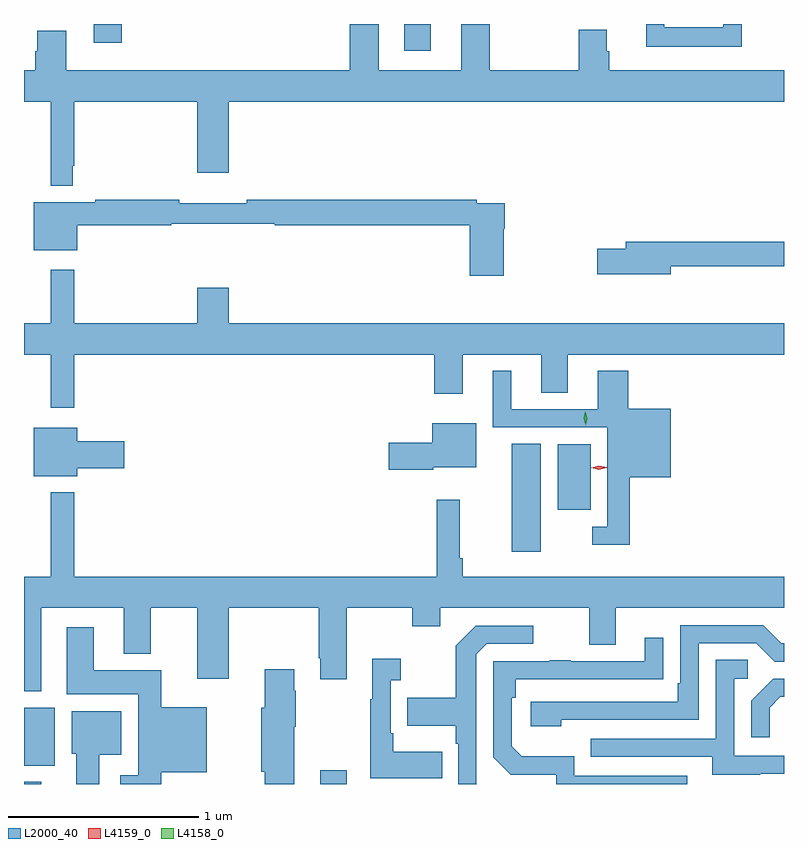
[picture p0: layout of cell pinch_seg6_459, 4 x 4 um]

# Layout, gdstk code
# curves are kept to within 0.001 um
import gdstk
lib = gdstk.Library(unit=1e-6, precision=1e-09)
def R(c, l, rs):  # rectangles x0, y0, x1, y1
    for r in rs: c.add(gdstk.rectangle(r[:2], r[2:], *l))
def P(c, l, *ps):  # polygons
    for p in ps: c.add(gdstk.Polygon(p, *l))
L2000_40 = (2000, 40)
L4158_0 = (4158, 0)
L4159_0 = (4159, 0)

pinch_seg6_459 = lib.new_cell('pinch_seg6_459')
R(pinch_seg6_459, L2000_40, [(775.483,915.772,775.573,915.784), (777.041,915.772,777.181,915.844), (775.483,915.869,775.645,916.174), (778.049,916.995,778.204,917.564), (778.292,917.216,778.465,917.56), (777.485,919.632,777.625,919.772), (775.85,919.674,775.997,919.772)])
P(pinch_seg6_459, L2000_40, [(779.26,919.772),(779.163,919.772),(779.163,919.756),(778.854,919.756),(778.854,919.772),(778.757,919.772),(778.757,919.652),(779.26,919.652)],
  [(778.402,919.741),(778.402,919.528),(777.933,919.528),(777.933,919.771),(777.785,919.771),(777.785,919.528),(777.349,919.528),(777.349,919.772),(777.197,919.772),(777.197,919.528),(775.706,919.528),(775.706,919.737),(775.553,919.737),(775.553,919.628),(775.541,919.628),(775.541,919.528),(775.483,919.528),(775.483,919.364),(775.625,919.364),(775.625,918.92),(775.74,918.92),(775.74,919.027),(775.747,919.027),(775.747,919.364),(776.396,919.364),(776.396,918.99),(776.56,918.99),(776.56,919.364),(779.483,919.364),(779.483,919.528),(778.562,919.528),(778.562,919.629),(778.549,919.629),(778.549,919.741)],
  [(778.008,918.695),(778.013,918.695),(778.013,918.828),(777.866,918.828),(777.866,918.848),(776.656,918.848),(776.656,918.829),(776.3,918.829),(776.3,918.848),(775.858,918.848),(775.858,918.835),(775.535,918.835),(775.535,918.581),(775.762,918.581),(775.762,918.712),(776.258,918.712),(776.258,918.72),(776.802,918.72),(776.802,918.712),(777.83,918.712),(777.83,918.447),(778.008,918.447)],
  [(778.888,918.498),(779.483,918.498),(779.483,918.626),(778.649,918.626),(778.649,918.59),(778.5,918.59),(778.5,918.455),(778.888,918.455)],
  [(775.747,918.032),(777.641,918.032),(777.641,917.826),(777.793,917.826),(777.793,918.032),(778.205,918.032),(778.205,917.83),(778.345,917.83),(778.345,918.032),(779.483,918.032),(779.483,918.196),(776.56,918.196),(776.56,918.385),(776.396,918.385),(776.396,918.196),(775.747,918.196),(775.747,918.478),(775.625,918.478),(775.625,918.196),(775.483,918.196),(775.483,918.032),(775.625,918.032),(775.625,917.751),(775.747,917.751)],
  [(778.67,917.387),(778.888,917.387),(778.888,917.746),(778.664,917.746),(778.664,917.947),(778.502,917.947),(778.502,917.745),(778.048,917.745),(778.048,917.947),(777.95,917.947),(777.95,917.649),(778.554,917.649),(778.554,917.127),(778.473,917.127),(778.473,917.03),(778.67,917.03)],
  [(777.636,917.438),(777.862,917.438),(777.862,917.671),(777.632,917.671),(777.632,917.568),(777.402,917.568),(777.402,917.426),(777.636,917.426)],
  [(775.762,917.435),(776.011,917.435),(776.011,917.577),(775.762,917.577),(775.762,917.647),(775.535,917.647),(775.535,917.393),(775.762,917.393)],
  [(775.573,916.7),(776.009,916.7),(776.009,916.457),(776.149,916.457),(776.149,916.7),(776.396,916.7),(776.396,916.326),(776.56,916.326),(776.56,916.7),(777.034,916.7),(777.034,916.435),(777.041,916.435),(777.041,916.323),(777.181,916.323),(777.181,916.7),(777.526,916.7),(777.526,916.601),(777.673,916.601),(777.673,916.7),(778.457,916.7),(778.457,916.506),(778.597,916.506),(778.597,916.7),(779.483,916.7),(779.483,916.864),(777.791,916.864),(777.791,916.96),(777.776,916.96),(777.776,917.269),(777.655,917.269),(777.655,916.864),(775.747,916.864),(775.747,917.308),(775.625,917.308),(775.625,916.864),(775.483,916.864),(775.483,916.259),(775.573,916.259)],
  [(778.31,916.11),(779.034,916.11),(779.034,916.512),(779.337,916.512),(779.433,916.416),(779.483,916.416),(779.483,916.512),(779.469,916.512),(779.373,916.608),(778.938,916.608),(778.938,916.303),(778.925,916.303),(778.925,916.206),(778.149,916.206),(778.149,916.076),(778.31,916.076)],
  [(777.864,915.774),(777.864,916.455),(777.918,916.509),(778.162,916.509),(778.162,916.605),(777.861,916.605),(777.756,916.499),(777.756,916.227),(777.499,916.227),(777.499,916.079),(777.756,916.079),(777.756,915.983),(777.768,915.983),(777.768,915.772),(777.866,915.772)],
  [(776.206,915.833),(776.446,915.833),(776.446,916.177),(776.206,916.177),(776.206,916.372),(775.849,916.372),(775.849,916.597),(775.709,916.597),(775.709,916.244),(776.084,916.244),(776.084,915.817),(775.989,915.817),(775.989,915.772),(776.206,915.772)],
  [(778.975,915.816),(778.38,915.816),(778.38,915.919),(778.103,915.919),(778.05,915.972),(778.05,916.226),(778.07,916.226),(778.07,916.323),(778.847,916.324),(778.847,916.543),(778.751,916.543),(778.751,916.419),(778.361,916.419),(778.361,916.424),(778.249,916.424),(778.249,916.419),(777.954,916.419),(777.954,915.912),(778.044,915.822),(778.284,915.822),(778.284,915.772),(778.975,915.772)],
  [(777.683,915.943),(777.427,915.943),(777.427,916.039),(777.414,916.039),(777.414,916.319),(777.466,916.319),(777.466,916.432),(777.317,916.432),(777.317,916.219),(777.306,916.219),(777.306,915.803),(777.683,915.803)],
  [(779.359,915.825),(779.483,915.825),(779.483,915.921),(779.22,915.921),(779.22,916.326),(779.293,916.326),(779.293,916.427),(779.124,916.427),(779.124,916.011),(778.465,916.011),(778.465,915.915),(779.105,915.915),(779.105,915.821),(779.359,915.821)],
  [(776.905,916.073),(776.913,916.073),(776.913,916.262),(776.905,916.262),(776.905,916.375),(776.75,916.375),(776.75,916.173),(776.732,916.173),(776.732,915.837),(776.75,915.837),(776.75,915.772),(776.905,915.772)],
  [(779.407,916.173),(779.464,916.23),(779.483,916.23),(779.483,916.326),(779.426,916.326),(779.31,916.21),(779.31,916.017),(779.407,916.017)],
  [(775.879,915.926),(775.996,915.926),(775.996,916.156),(775.733,916.156),(775.733,915.93),(775.757,915.93),(775.757,915.772),(775.879,915.772)])
P(pinch_seg6_459, L4158_0, [(778.44,917.661),(778.44,917.662),(778.428,917.696),(778.437,917.732),(778.437,917.732),(778.437,917.732),(778.448,917.697),(778.44,917.662)])
P(pinch_seg6_459, L4159_0, [(778.509,917.427),(778.469,917.436),(778.469,917.436),(778.469,917.436),(778.509,917.447),(778.549,917.438),(778.55,917.438),(778.549,917.437)])

lib.write_gds('pinch_seg6_459.gds')
